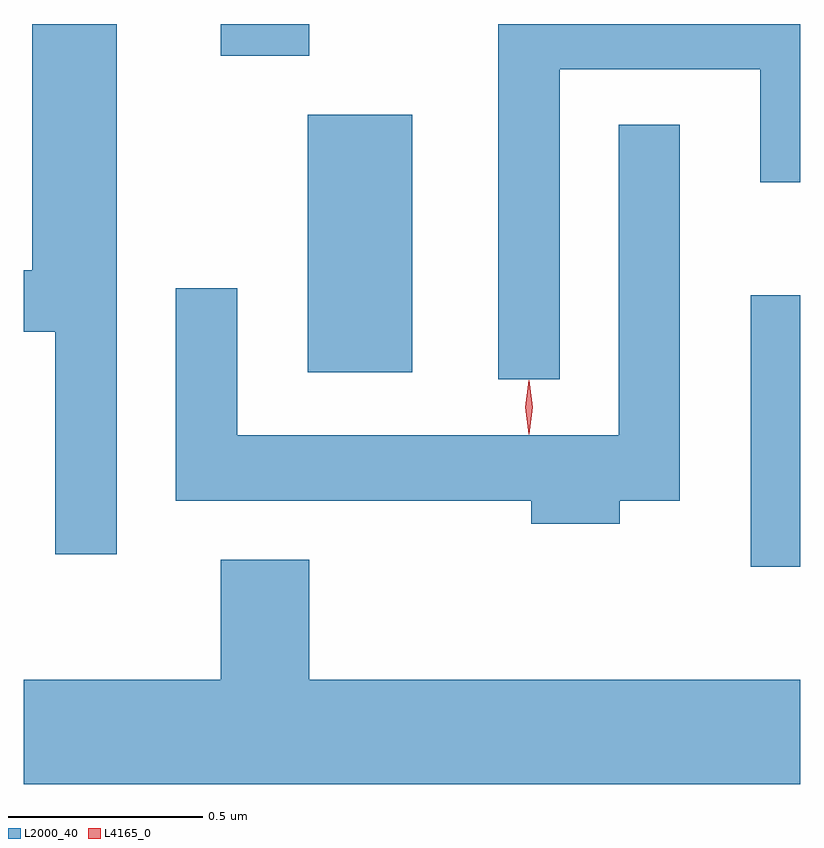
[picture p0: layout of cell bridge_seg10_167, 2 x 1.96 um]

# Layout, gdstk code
import gdstk
lib = gdstk.Library(unit=1e-6, precision=1e-09)
def R(c, l, rs):  # rectangles x0, y0, x1, y1
    for r in rs: c.add(gdstk.rectangle(r[:2], r[2:], *l))
def P(c, l, *ps):  # polygons
    for p in ps: c.add(gdstk.Polygon(p, *l))
L2000_40 = (2000, 40)
L4165_0 = (4165, 0)

bridge_seg10_167 = lib.new_cell('bridge_seg10_167')
R(bridge_seg10_167, L2000_40, [(1657.926,2098.936,1658.054,2099.634), (1656.786,2099.436,1657.054,2100.099), (1656.561,2100.251,1656.789,2100.333)])
P(bridge_seg10_167, L2000_40, [(1657.434,2100.216),(1657.951,2100.216),(1657.951,2099.926),(1658.054,2099.926),(1658.054,2100.333),(1657.276,2100.333),(1657.276,2099.418),(1657.434,2099.418)],
  [(1656.294,2100.333),(1656.076,2100.333),(1656.076,2099.699),(1656.054,2099.699),(1656.054,2099.541),(1656.136,2099.541),(1656.136,2098.968),(1656.294,2098.968)],
  [(1657.589,2099.106),(1657.744,2099.106),(1657.744,2100.073),(1657.586,2100.073),(1657.586,2099.274),(1656.604,2099.274),(1656.604,2099.653),(1656.446,2099.653),(1656.446,2099.106),(1657.361,2099.106),(1657.361,2099.046),(1657.589,2099.046)],
  [(1658.054,2098.644),(1656.789,2098.644),(1656.789,2098.954),(1656.561,2098.954),(1656.561,2098.644),(1656.054,2098.644),(1656.054,2098.376),(1658.054,2098.376)])
P(bridge_seg10_167, L4165_0, [(1657.355,2099.279),(1657.354,2099.28),(1657.345,2099.346),(1657.354,2099.412),(1657.355,2099.413),(1657.355,2099.412),(1657.365,2099.346),(1657.355,2099.28)],
  [(1657.354,2099.277),(1657.345,2099.346),(1657.354,2099.416),(1657.355,2099.416),(1657.356,2099.416),(1657.365,2099.346),(1657.356,2099.277),(1657.355,2099.277)])

lib.write_gds('bridge_seg10_167.gds')
